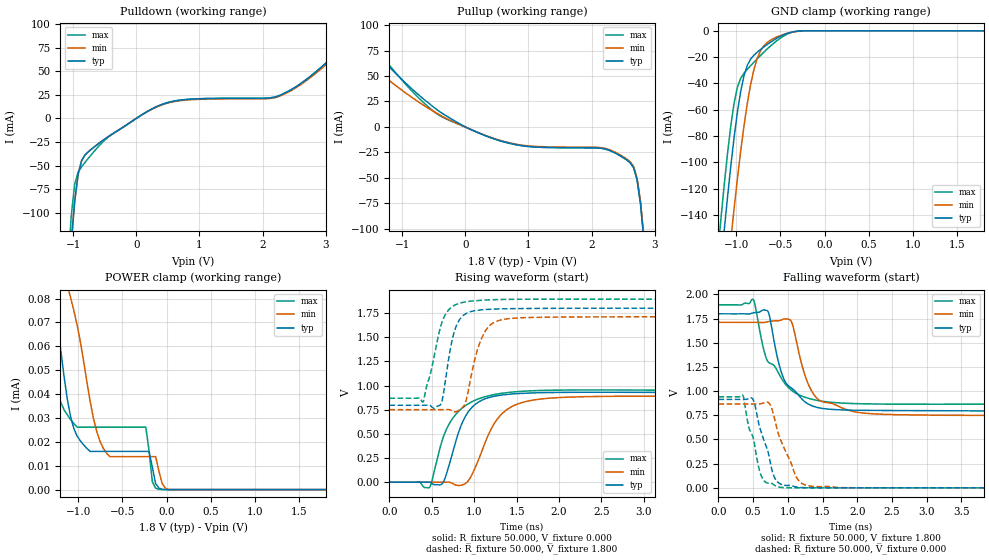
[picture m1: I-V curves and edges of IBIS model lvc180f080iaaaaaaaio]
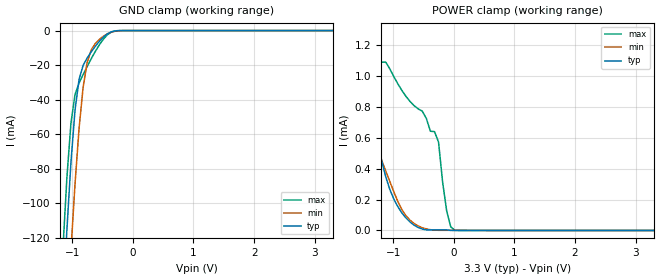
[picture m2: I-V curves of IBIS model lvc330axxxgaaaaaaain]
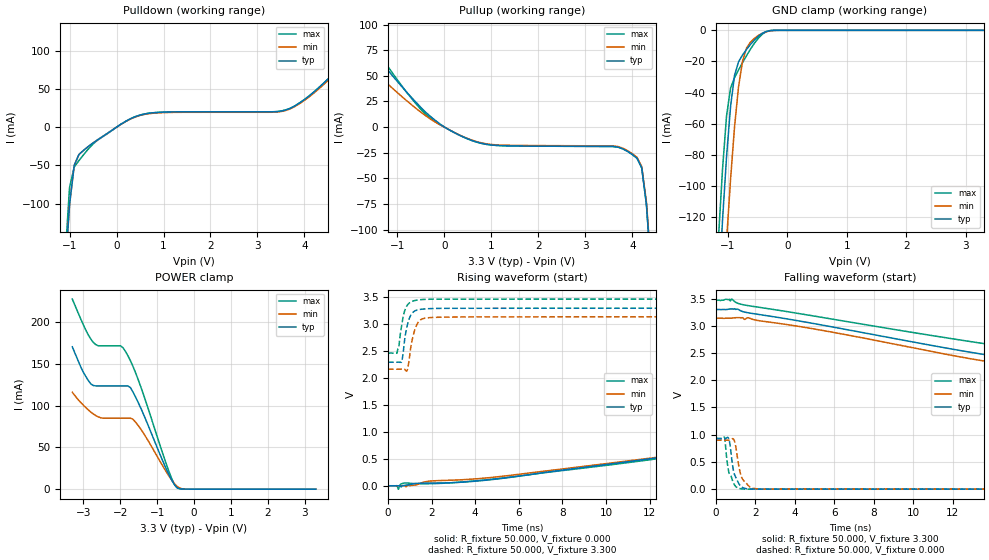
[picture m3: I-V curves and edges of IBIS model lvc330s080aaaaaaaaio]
| IBIS Models Generator: Lattice Radiant Software (64-bit) 2025.2.0.48.0
| Report Generate Date: Mar 13 2026
| Report Generate Time: 18:17:51
| IBIS File LibisMaker.ibs
| Cadence Design Systems, Inc. 2024
[IBIS ver]   4.2
[File Name]   I3C_XO5_impl_1.ibs
[File Rev]   2.6
[Date]   Tue Sep 23 18:42:29 PDT 2025
[Source]   Lattice Semiconductor 28fdsoi Process
[Notes]   Device: LFMXO5-25   Final
   Lattice Semiconductor has worked hard to ensure the
   models below are accurate and complete.  However, the
   data below was generated using simulation of the
   input/output model files for the silicon.  Therefore,
   the data below is for reference and initial design
   purposes only.
   Lattice Semiconductor grants permission to use this
   data for use in printed circuit design using this
   Lattice programmable logic device.  Other use of this
   code, including the selling or duplication of any
   portion is strictly prohibited.
|   NAMING CONVENTION
   The IBIS [Model] header is limited by the specification to a
   total of characters.  With such a set of characters available
   for naming models it becomes important to attempt to
   meaningfully encode the IO standards so they fit within the
   twenty character limit.  It would seem that twenty characters
   would provide room enough for describing IO's.  However, the
   PLD IO structure continues to grow more and more complex.  The
   complexity is making the twenty characters insuffiently
   descriptive.  In order to overcome this issue the naming
   convention described below is implemented to resolve the issue.
The twenty character space is managed as follows:
   bbbvvvsdddprttmaoixx
   b = standard
   v = voltage (x.xx V)
   s = slew code
   d = drive (xx.x ma)
   p = pullmode code
   r = impedance
   t = termination code
   m = mipi hard dphy mode
   o = diff resistor code
   i = diff  current code
   x = reserved
   standard
   LVCMOS   lvc
   LVCMOSH   lvh
   LVCMOSR   lvr
   LVCMOSD   lvd
   LVTTL   lvt
   lvttld   ltd
   sstl_I   ss1
   sstl_II   ss2
   sstld_I   s1d
   sstld_II   s2d
   hsul   hs1
   hsuld   h1d
   hstl_I   hs1
   hstld_I   h1d
   lvds   lvs
   lvdse   lve
   SUBLVDS   slv
   sublvdse   sle
   sublvdseh   slh
   slvs   svs
   mipi   mip
   vref1   vr1
   lvstl_I   ll1
   lvstl_II   ll2
   lvstld_I   l1d
   lvstld_II   l2d
   slew
   na   a
   fast   f
   slow   s
   med   m
   drive
   2   020
   4   040
   6   060
   8   080
   10   100
   12   120
   16   160
   50rs   r50
   na   xxx
   pullmode/clamp on
   none   a/e
   failsafe   a/e
   up   b/f
   down   c/g
   keeper   d/h
   i3c   i
   impedance
   off   a
   termination
   off   aa
   40   bb
   50   cc
   60   dd
   75   ee
   150   ff
   48   gg
   80   hh
   120   ii
   mipi hard dphy mode
   off   a
   lp   l
   hs   h
   differential resistor
   off   a
   100   b
   differential current
   NA   a
   2.0   b
   3.5   c
   Reserved   IO type
   in   input only (mipi: rx)
   ou   output (mipi: tx)
   io   I/O
   od   Open drain
   ic   Inverting differential input
   (signal name only)
   it   Non-Inverting differential
   input (signal name only)
   on   Inverting differential output
   (signal name only)
   op   Non-Inverting differential output
   (signal name only)
   bn   Inverting differential I/O
   (signal name only)
   bp   Non-Inverting differential I/O
   (signal name only)
   All the IO models are generated with pull mode set to none.
   Lattice Semiconductor Corporation
   5555 NE Moore Court
   Hillsboro, OR 97214
   U.S.A
   TEL: 1-800-Lattice (USA and Canada)
   408-826-6000 (other locations)
   web: http://www.latticesemi.com/
   email: techsupport@latticesemi.com
[Disclaimer] This IBIS source code is intended as a design reference
   which illustrates how the Lattice Semiconductor device operates.
   It is the user's responsibility to verify their design for
   consistency and functionality through the use of formal
   verification methods.  Lattice Semiconductor provides no warranty
   regarding the use or functionality of this data.
[Copyright]   Copyright 2025 by Lattice Semiconductor Corporation
|   Component LFMXO5
[Component] LFMXO5
[Manufacturer] Lattice Semiconductor Corp.
[Package]
|BBG400
| variable   typ   min   max
R_pkg   0.36549   0.21269   0.57866
L_pkg   3.644e-9   2.134e-9   6.024e-9
C_pkg   1.195e-12   7.084e-13   1.745e-12
[Pin]  signal_name   model_name   R_pin   L_pin   C_pin
E18   TDI   lvc330axxxgaaaaaaain
G16   TCK   lvc330axxxgaaaaaaain
F16   TMS   lvc330axxxgaaaaaaain
E20   TDO   lvc330s080aaaaaaaaio
R3   led_o[0]   lvc330s080gaaaaaaaio
R2   led_o[1]   lvc330s080gaaaaaaaio
R1   led_o[2]   lvc330s080gaaaaaaaio
P7   led_o[3]   lvc330s080gaaaaaaaio
H12   led_o[4]   lvc330s080gaaaaaaaio
H11   led_o[5]   lvc330s080gaaaaaaaio
G13   led_o[6]   lvc330s080gaaaaaaaio
G12   led_o[7]   lvc330s080gaaaaaaaio
T1   led_o[8]   lvc330s080gaaaaaaaio
E4   m0_sda_io   lvc180f080iaaaaaaaio
D3   m0_scl_io   lvc180f080iaaaaaaaio
G9   s0_sda_io   lvc180f080iaaaaaaaio
G7   s0_scl_io   lvc180f080iaaaaaaaio
B12   txd_o   lvc330s080aaaaaaaaou
G11   s0_rst_o   lvc330s080aaaaaaaaou
B11   rxd_i   lvc330axxxgaaaaaaain
F20   rstn_I   lvc330axxxgaaaaaaain
F14   risc_inst_timer_timer_irq_o_port lvc330s080aaaaaaaaou
| Models and submodels in the file (5): lvc180f080iaaaaaaaio (I/O), lvc330axxxgaaaaaaain (Input), lvc330s080aaaaaaaaio (I/O), lvc330s080aaaaaaaaou (Output), lvc330s080gaaaaaaaio (I/O)
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[Model] lvc180f080iaaaaaaaio
Model_type I/O
Polarity   Non-Inverting
Enable   Active-Low
Vinl =  0.630V
Vinh =  1.170V
Vmeas =  0.900V
Cref =  0.0F
Rref =  1.000M
Vref =  0.0V
C_comp   5.000pF   4.000pF   5.500pF
[Temperature Range]   25.000   0.125k   -40.000
[Voltage Range]   1.800V   1.710V   1.890V
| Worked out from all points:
|   slope of the pulldown table from 0 to 0.27 V, typ, clamps not added: 25.1 ohm
|   slope of the pullup table from 0 to 0.27 V, typ, clamps not added: 36.3 ohm
|   GND clamp passes 1 mA (typ) near -0.37 V on its own axis
|   rising waveform, R_fixture 50.000, V_fixture 0.000: 20-80 % time 227ps typ, 289ps min, 291ps max; typ from 0 V to 0.915 V
|   rising waveform, R_fixture 50.000, V_fixture 1.800: 20-80 % time 130ps typ, 175ps min, 166ps max; typ from 0.796 V to 1.8 V
|   falling waveform, R_fixture 50.000, V_fixture 1.800: 20-80 % time 328ps typ, 278ps min, 385ps max; typ from 1.8 V to 0.796 V
|   falling waveform, R_fixture 50.000, V_fixture 0.000: 20-80 % time 210ps typ, 271ps min, 184ps max; typ from 0.915 V to 0 V
[GND_clamp]
|Voltage   I(typ)   I(min)   I(max)
-1.8V     -665.5mA   -701.9mA   -644.7mA
-1.208V   -203.2mA   -259.3mA   -168.6mA
-1.171V   -176.5mA   -233.3mA   -141.8mA
-1.134V   -150.7mA   -207.7mA   -116.3mA
-1.06V    -102.3mA   -158.3mA   -71.8mA
-1.023V   -80.78mA   -134.8mA   -54.83mA
-986mV    -61.78mA   -112.4mA   -42.93mA
-875mV    -26.33mA   -55.53mA   -29.29mA
-764mV    -16.38mA   -21.41mA   -21.4mA
-616mV    -8.858mA   -7.288mA   -11.79mA
-283mV    -142.7uA   -287uA     -113.6uA
1.8V      1.806nA    0A         -451.7pA
[POWER_clamp]
|Voltage   I(typ)   I(min)   I(max)
-1.8V     186.1uA    259.3uA    183.5uA
-1.382V   94.44uA    136.9uA    91.49uA
-1.345V   89.56uA    127.8uA    77.5uA
-1.308V   84.02uA    119.2uA    62.8uA
-1.234V   68.87uA    103.6uA    41.99uA
-1.086V   30.66uA    80.57uA    29.36uA
-864mV    15.99uA    36.92uA    26.17uA
-642mV    15.99uA    13.83uA    26.17uA
-235mV    15.99uA    13.83uA    26.17uA
-161mV    9.477uA    13.83uA    3.316uA
24mV      0A         0A         261.1pA
1.8V      0A         0A         0A
[Pulldown]
|Voltage   I(typ)   I(min)   I(max)
-1.8V     -1.123A    -1.123A    -1.379A
-1.085V   -187mA     -187mA     -163mA
-1.03V    -131.9mA   -131.9mA   -104mA
-975mV    -88.04mA   -88.04mA   -69.67mA
-920mV    -59.22mA   -59.22mA   -56.86mA
-810mV    -38.63mA   -38.63mA   -46.55mA
-425mV    -18.55mA   -18.55mA   -18.85mA
180mV     7.522mA    7.296mA    7.522mA
730mV     19.66mA    19.07mA    19.66mA
2.27V     24.3mA     23.57mA    24.3mA
2.765V    45.03mA    43.68mA    45.03mA
3.6V      96.4mA     93.5mA     96.4mA
[Pullup]
|Voltage   I(typ)   I(min)   I(max)
-1.8V     97mA       74.36mA    106.2mA
-1.68V    89.47mA    68.72mA    97.1mA
-910mV    41.1mA     31.86mA    39.59mA
-415mV    15.43mA    12.27mA    11.56mA
80mV      -2.292mA   -2.223mA   -2.292mA
685mV     -15.85mA   -15.38mA   -15.85mA
2.115V    -20.71mA   -20.09mA   -20.71mA
2.335V    -24.39mA   -23.66mA   -24.39mA
2.665V    -39.85mA   -38.65mA   -39.85mA
2.72V     -51.63mA   -50.09mA   -51.63mA
2.83V     -111.9mA   -108.5mA   -111.9mA
3.6V      -942.2mA   -913.9mA   -942.2mA
[Ramp]
| variable   typ   min   max
dV/dt_r   0.549/0.227n   0.517/0.288n   0.565/0.291n
dV/dt_f   0.602/0.326n   0.576/0.278n   0.614/0.387n
R_load = 50.000
[Rising Waveform]
R_fixture = 50.000
V_fixture = 0.000
V_fixture_min = 0.000
V_fixture_max = 0.000
|  time   V(typ)   V(min)   V(max)
0s        66.63uV    -485.3uV   428.6uV
466ps     1.261mV    -537.8uV   -58.18mV
619ps     -18.33mV   -250.8uV   423.9mV
734ps     270.9mV    -9.504mV   645.6mV
894ps     678.2mV    -14.32mV   790.7mV
1.222ns   886.2mV    586.8mV    903.9mV
1.404ns   909.1mV    762.2mV    928.4mV
1.784ns   925.6mV    860.5mV    949mV
2.454ns   930.6mV    886.8mV    954.3mV
10ns      914.5mV    866.9mV    941.3mV
[Rising Waveform]
R_fixture = 50.000
V_fixture = 1.800
V_fixture_min = 1.710
V_fixture_max = 1.890
|  time   V(typ)   V(min)   V(max)
0s        796mV      750.1mV    868.6mV
394ps     796.1mV    749.7mV    828.8mV
599ps     798.8mV    750.3mV    1.596V
769ps     1.569V     728.2mV    1.831V
884ps     1.734V     799.4mV    1.864V
954ps     1.763V     1.057V     1.873V
1.044ns   1.779V     1.388V     1.879V
1.15ns    1.787V     1.589V     1.885V
1.474ns   1.796V     1.697V     1.892V
10ns      1.8V       1.712V     1.893V
[Falling Waveform]
R_fixture = 50.000
V_fixture = 1.800
V_fixture_min = 1.710
V_fixture_max = 1.890
|  time   V(typ)   V(min)   V(max)
0s        1.8V       1.712V     1.893V
502ps     1.81V      1.712V     1.948V
642ps     1.84V      1.71V      1.46V
708ps     1.829V     1.717V     1.311V
897ps     1.216V     1.734V     1.146V
1.032ns   1.042V     1.738V     1.022V
1.287ns   870.1mV    1.086V     928.2mV
1.507ns   820.4mV    888.3mV    894.6mV
2.582ns   799.2mV    756.2mV    865.5mV
10ns      796mV      750.1mV    868.6mV
[Falling Waveform]
R_fixture = 50.000
V_fixture = 0.000
V_fixture_min = 0.000
V_fixture_max = 0.000
|  time   V(typ)   V(min)   V(max)
0s        914.5mV    866.9mV    941.3mV
349ps     914.4mV    866.7mV    959mV
440ps     924mV      866.8mV    618mV
493ps     919.6mV    866.7mV    534.8mV
625ps     556.8mV    872mV      110.6mV
743ps     275.9mV    861.7mV    50.68mV
887ps     41.44mV    510.6mV    5.746mV
1.143ns   6.087mV    87.09mV    -293.8uV
1.383ns   454.4uV    13.23mV    -486.8uV
10ns      66.63uV    -485.3uV   428.6uV
[Model] lvc330axxxgaaaaaaain
Model_type Input
Polarity   Non-Inverting
Enable   Active-High
Vinl =  0.800V
Vinh =  2.000V
C_comp   5.000pF   4.000pF   5.500pF
[Temperature Range]   25.000   0.125k   -40.000
[Voltage Range]   3.300V   3.140V   3.470V
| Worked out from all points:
|   GND clamp passes 1 mA (typ) near -0.37 V on its own axis
|   POWER clamp passes 1 mA (typ) near -1.47 V on its own axis
[GND_clamp]
|Voltage   I(typ)   I(min)   I(max)
-3.3V     -1.865A    -1.847A    -1.883A
-1.156V   -160.1mA   -214.1mA   -127.6mA
-1.089V   -115.7mA   -169.6mA   -85.35mA
-1.022V   -76.45mA   -127.5mA   -53.7mA
-955mV    -46.24mA   -89.13mA   -37.05mA
-888mV    -28.3mA    -56.66mA   -30.41mA
-821mV    -20.19mA   -32.82mA   -25.49mA
-754mV    -15.89mA   -18.49mA   -20.81mA
-620mV    -9.094mA   -7.515mA   -12.09mA
-419mV    -1.868mA   -1.846mA   -2.383mA
-218mV    -16.48uA   -78.61uA   -6.639uA
3.3V      0A         0A         0A
[POWER_clamp]
|Voltage   I(typ)   I(min)   I(max)
-3.3V     37.53mA    9.364mA    73.7mA
-1.792V   1.823mA    1.318mA    2.466mA
-1.591V   1.29mA     991.8uA    1.714mA
-1.457V   981.8uA    795.4uA    1.299mA
-1.39V    843.7uA    703.6uA    1.091mA
-1.122V   347.7uA    385.2uA    1.091mA
-854mV    112.9uA    134.5uA    907uA
-586mV    19.15uA    28.85uA    788.2uA
-251mV    3.861uA    1.254uA    573.3uA
-117mV    3.861uA    1.254uA    126.7uA
17mV      69.96nA    1.254uA    1.636uA
3.3V      0A         0A         0A
[Model] lvc330s080aaaaaaaaio
Model_type I/O
Polarity   Non-Inverting
Enable   Active-Low
Vinl =  0.800V
Vinh =  2.000V
Vmeas =  1.650V
Cref =  0.0F
Rref =  1.000M
Vref =  0.0V
C_comp   5.000pF   4.000pF   5.500pF
[Temperature Range]   25.000   0.125k   -40.000
[Voltage Range]   3.300V   3.140V   3.470V
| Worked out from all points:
|   slope of the pulldown table from 0 to 0.495 V, typ, clamps not added: 31.5 ohm
|   slope of the pullup table from 0 to 0.495 V, typ, clamps not added: 43.2 ohm
|   GND clamp passes 1 mA (typ) near -0.37 V on its own axis
|   POWER clamp passes 1 mA (typ) near -0.42 V on its own axis
|   rising waveform, R_fixture 50.000, V_fixture 0.000: 20-80 % time 10.1ns typ, 10.8ns min, 10.1ns max; typ from 0 V to 0.929 V
|   rising waveform, R_fixture 50.000, V_fixture 3.300: 20-80 % time 265ps typ, 295ps min, 259ps max; typ from 2.3 V to 3.3 V
|   falling waveform, R_fixture 50.000, V_fixture 3.300: 20-80 % time 9.12ns typ, 8.53ns min, 10.2ns max; typ from 3.3 V to 2.3 V
|   falling waveform, R_fixture 50.000, V_fixture 0.000: 20-80 % time 306ps typ, 322ps min, 315ps max; typ from 0.929 V to 0 V
[GND_clamp]
|Voltage   I(typ)   I(min)   I(max)
-3.3V     -1.887A    -1.873A    -1.902A
-1.156V   -166.9mA   -224mA     -132.1mA
-1.089V   -121.5mA   -178.4mA   -88.64mA
-1.022V   -81.05mA   -135.2mA   -54.94mA
-955mV    -48.98mA   -95.79mA   -37.15mA
-888mV    -28.98mA   -62.05mA   -30.42mA
-821mV    -20.23mA   -36.35mA   -25.49mA
-754mV    -15.89mA   -19.89mA   -20.81mA
-687mV    -12.34mA   -11.44mA   -16.31mA
-620mV    -9.094mA   -7.515mA   -12.09mA
-419mV    -1.869mA   -1.836mA   -2.383mA
3.3V      0A         0A         0A
[POWER_clamp]
|Voltage   I(typ)   I(min)   I(max)
-3.3V     170.3mA    115.9mA    227.4mA
-2.998V   139.6mA    100.3mA    196.3mA
-2.797V   125.9mA    92.2mA     179.4mA
-2.596V   123.5mA    86.45mA    171.5mA
-1.993V   123.5mA    84.93mA    171.5mA
-1.792V   123.5mA    84.93mA    159.6mA
-1.658V   116.4mA    83.68mA    147.1mA
-1.457V   98.28mA    72.65mA    124.1mA
-720mV    21.08mA    18.41mA    25.96mA
-452mV    1.573mA    3.148mA    1.229mA
-184mV    5.589uA    37.85uA    1.612uA
3.3V      0A         0A         0A
[Pulldown]
|Voltage   I(typ)   I(min)   I(max)
-3.3V     -3.025A    -3.025A    -3.918A
-1.1V     -192.9mA   -192.9mA   -175.3mA
-1V       -101.2mA   -101.2mA   -78.95mA
-900mV    -49.86mA   -49.86mA   -52.21mA
-800mV    -35.81mA   -35.81mA   -43.74mA
200mV     7.775mA    7.542mA    7.775mA
800mV     18.91mA    18.34mA    18.91mA
3.6V      22.45mA    21.77mA    22.45mA
4.1V      40.8mA     39.58mA    40.8mA
5.4V      113.7mA    110.3mA    113.7mA
6.1V      131.6mA    127.7mA    131.6mA
6.6V      184.5mA    179mA      184.5mA
[Pullup]
|Voltage   I(typ)   I(min)   I(max)
-3.3V     145.5mA    90.7mA     185.8mA
-2.7V     96.8mA     74.7mA     125.4mA
-2.1V     95.1mA     70.11mA    105.4mA
-1.8V     86.3mA     64.15mA    96.9mA
-500mV    19.13mA    14.57mA    17.21mA
0V        28.62nA    228.6nA    28.62nA
600mV     -13.29mA   -12.89mA   -13.29mA
3.9V      -23.67mA   -22.96mA   -23.67mA
4.2V      -39.73mA   -38.54mA   -39.73mA
4.3V      -75.4mA    -73.1mA    -75.4mA
4.4V      -140.5mA   -136.3mA   -140.5mA
6.6V      -2.178A    -2.113A    -2.178A
[Ramp]
| variable   typ   min   max
dV/dt_r   0.558/10.154n   0.540/10.738n   0.559/10.105n
dV/dt_f   0.602/9.145n   0.584/8.567n   0.602/10.251n
R_load = 50.000
[Rising Waveform]
R_fixture = 50.000
V_fixture = 0.000
V_fixture_min = 0.000
V_fixture_max = 0.000
|  time   V(typ)   V(min)   V(max)
0s        488.9uV    1.198mV    488.9uV
395ps     658.9uV    831.3uV    3.42mV
476ps     748.1uV    1.21mV     -62.3mV
567ps     -8.091mV   1.352mV    25.37mV
756ps     7.909mV    3.31mV     52.67mV
1.276ns   44.04mV    15.94mV    39.37mV
1.915ns   50.23mV    87.65mV    39.47mV
4.871ns   120.6mV    160.8mV    128.3mV
18.34ns   852.8mV    827.3mV    867.3mV
20ns      929.1mV    899.7mV    931mV
[Rising Waveform]
R_fixture = 50.000
V_fixture = 3.300
V_fixture_min = 3.140
V_fixture_max = 3.470
|  time   V(typ)   V(min)   V(max)
0s        2.297V     2.167V     2.467V
409ps     2.297V     2.166V     2.466V
495ps     2.298V     2.167V     2.59V
617ps     2.297V     2.168V     2.964V
732ps     2.615V     2.168V     3.208V
866ps     2.954V     2.137V     3.345V
1.122ns   3.215V     2.737V     3.43V
1.393ns   3.272V     3.045V     3.454V
2.705ns   3.298V     3.135V     3.469V
20ns      3.3V       3.14V      3.47V
[Falling Waveform]
R_fixture = 50.000
V_fixture = 3.300
V_fixture_min = 3.140
V_fixture_max = 3.470
|  time   V(typ)   V(min)   V(max)
0s        3.3V       3.14V      3.47V
688ps     3.308V     3.14V      3.488V
728ps     3.309V     3.14V      3.458V
798ps     3.311V     3.142V     3.492V
1.104ns   3.305V     3.151V     3.415V
1.456ns   3.252V     3.118V     3.382V
1.635ns   3.24V      3.148V     3.371V
14.38ns   2.432V     2.313V     2.632V
17.15ns   2.336V     2.218V     2.518V
20ns      2.297V     2.167V     2.467V
[Falling Waveform]
R_fixture = 50.000
V_fixture = 0.000
V_fixture_min = 0.000
V_fixture_max = 0.000
|  time   V(typ)   V(min)   V(max)
0s        929.1mV    899.7mV    931mV
432ps     928.7mV    899.2mV    951mV
635ps     936mV      899.2mV    340.2mV
704ps     834.9mV    904.4mV    270.4mV
894ps     325.7mV    914.7mV    106.7mV
976ps     235.8mV    831.3mV    58.85mV
1.286ns   44.1mV     226.5mV    5.371mV
1.736ns   2.356mV    37.35mV    -635.9uV
2.289ns   60.46uV    1.945mV    -757.1uV
20ns      488.9uV    1.198mV    488.9uV
